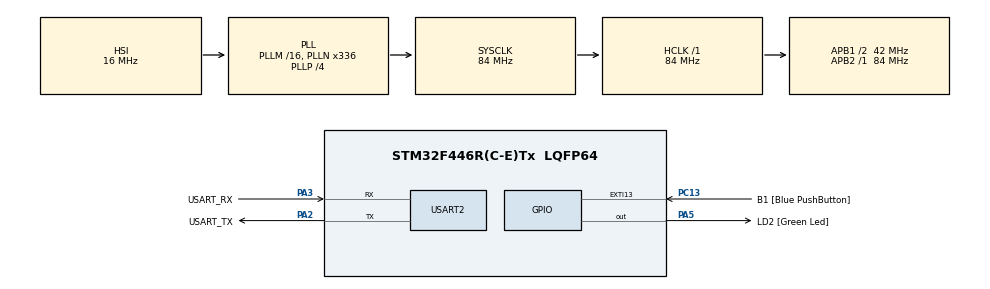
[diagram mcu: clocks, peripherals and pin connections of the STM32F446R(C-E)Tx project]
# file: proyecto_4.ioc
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Mcu.Family=STM32F4
Mcu.Name=STM32F446R(C-E)Tx
Mcu.Package=LQFP64
NVIC.PriorityGroup=NVIC_PRIORITYGROUP_0
PA13.GPIO_Label=TMS
PA13.Mode=Serial_Wire
PA13.Signal=SYS_JTMS-SWDIO
PA14.GPIO_Label=TCK
PA14.Mode=Serial_Wire
PA14.Signal=SYS_JTCK-SWCLK
PA2.GPIO_Label=USART_TX
PA2.Mode=Asynchronous
PA2.Signal=USART2_TX
PA3.GPIO_Label=USART_RX
PA3.Mode=Asynchronous
PA3.Signal=USART2_RX
PA5.GPIO_Label=LD2 [Green Led]
PA5.Signal=GPIO_Output
PB3.GPIO_Label=SWO
PB3.Signal=SYS_JTDO-SWO
PC13.GPIO_Label=B1 [Blue PushButton]
PC13.GPIO_ModeDefaultEXTI=GPIO_MODE_IT_FALLING
PC13.Signal=GPXTI13
PC14-OSC32_IN.Mode=LSE-External-Oscillator
PC14-OSC32_IN.Signal=RCC_OSC32_IN
PC15-OSC32_OUT.Mode=LSE-External-Oscillator
PC15-OSC32_OUT.Signal=RCC_OSC32_OUT
PH0-OSC_IN.Mode=HSE-External-Oscillator
PH0-OSC_IN.Signal=RCC_OSC_IN
PH1-OSC_OUT.Mode=HSE-External-Oscillator
PH1-OSC_OUT.Signal=RCC_OSC_OUT
ProjectManager.HeapSize=0x200
ProjectManager.StackSize=0x400
ProjectManager.TargetToolchain=STM32CubeIDE
RCC.48MHZClocksFreq_Value=84000000
RCC.AHBFreq_Value=84000000
RCC.APB1CLKDivider=RCC_HCLK_DIV2
RCC.APB1Freq_Value=42000000
RCC.APB1TimFreq_Value=84000000
RCC.APB2Freq_Value=84000000
RCC.APB2TimFreq_Value=84000000
RCC.CortexFreq_Value=84000000
RCC.FLatency-AdvancedSettings=FLASH_LATENCY_2
RCC.HCLKFreq_Value=84000000
RCC.HSE_VALUE=8000000
RCC.HSI_VALUE=16000000
RCC.PLLN=336
RCC.PLLP=RCC_PLLP_DIV4
RCC.SYSCLKFreq_VALUE=84000000
RCC.SYSCLKSource=RCC_SYSCLKSOURCE_PLLCLK
RCC.USBFreq_Value=168000000
RCC.VCOOutputFreq_Value=336000000
USART2.VirtualMode=VM_ASYNC
board=NUCLEO-F446RE

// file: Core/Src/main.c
/* USER CODE BEGIN Header */
/**
  ******************************************************************************
  * @file           : main.c
  * @brief          : Main program body
  ******************************************************************************
  * @attention
  *
  * Copyright (c) 2025 STMicroelectronics.
  * All rights reserved.
  *
  * This software is licensed under terms that can be found in the LICENSE file
  * in the root directory of this software component.
  * If no LICENSE file comes with this software, it is provided AS-IS.
  *
  ******************************************************************************
  */
/* USER CODE END Header */
#include "main.h"

/* USER CODE BEGIN Includes */

#include <stdbool.h>
#include "../../Drivers/API/Inc/API_debounce.h"
#include "../../Drivers/API/Src/API_delay.h"

/* USER CODE END Includes */

UART_HandleTypeDef huart2;

void SystemClock_Config(void);
static void MX_GPIO_Init(void);
static void MX_USART2_UART_Init(void);

int main(void)
{

  /* MCU Configuration--------------------------------------------------------*/

  /* Reset of all peripherals, Initializes the Flash interface and the Systick. */
  HAL_Init();

  /* Configure the system clock */
  SystemClock_Config();

  /* Initialize all configured peripherals */
  MX_GPIO_Init();
  MX_USART2_UART_Init();
  /* USER CODE BEGIN 2 */

  //Se inicializa la maquina de estados
  debounceFSM_init();

  //Definicion de tiempos del led encendido
  const uint32_t TIEMPOS[] = {100, 500};
  uint8_t cantTiempos = sizeof(TIEMPOS) / sizeof(TIEMPOS[0]);
  uint8_t indice = 0;

  //Declaracion de delay que controla el led.
  delay_t delay_led;
  bool ledState = false;

  //Inicializacion del delay que controla al led.
  delayInit(&delay_led, TIEMPOS[indice]);

  /* USER CODE END 2 */

  /* Infinite loop */
  /* USER CODE BEGIN WHILE */
  while (1)
  {
	//Se actualiza el estado de la maquina de estados
	debounceFSM_update();

	if (delayRead(&delay_led)){

		ledState = !ledState;
		HAL_GPIO_WritePin(LD2_GPIO_Port, LD2_Pin, ledState ? GPIO_PIN_SET : GPIO_PIN_RESET);

		//Si se presiono el pulsador cambia el tiempo de trabajo del parpadeo.
		if(readKey()){

			indice ++;
			if (indice >= cantTiempos) {
				indice = 0;
			}
			delayWrite(&delay_led, TIEMPOS[indice]);
		}

	}

    /* USER CODE END WHILE */

  }
}

void SystemClock_Config(void)
{
  RCC_OscInitTypeDef RCC_OscInitStruct = {0};
  RCC_ClkInitTypeDef RCC_ClkInitStruct = {0};

  /** Configure the main internal regulator output voltage
  */
  __HAL_RCC_PWR_CLK_ENABLE();
  __HAL_PWR_VOLTAGESCALING_CONFIG(PWR_REGULATOR_VOLTAGE_SCALE3);

  /** Initializes the RCC Oscillators according to the specified parameters
  * in the RCC_OscInitTypeDef structure.
  */
  RCC_OscInitStruct.OscillatorType = RCC_OSCILLATORTYPE_HSI;
  RCC_OscInitStruct.HSIState = RCC_HSI_ON;
  RCC_OscInitStruct.HSICalibrationValue = RCC_HSICALIBRATION_DEFAULT;
  RCC_OscInitStruct.PLL.PLLState = RCC_PLL_ON;
  RCC_OscInitStruct.PLL.PLLSource = RCC_PLLSOURCE_HSI;
  RCC_OscInitStruct.PLL.PLLM = 16;
  RCC_OscInitStruct.PLL.PLLN = 336;
  RCC_OscInitStruct.PLL.PLLP = RCC_PLLP_DIV4;
  RCC_OscInitStruct.PLL.PLLQ = 2;
  RCC_OscInitStruct.PLL.PLLR = 2;
  if (HAL_RCC_OscConfig(&RCC_OscInitStruct) != HAL_OK)
  {
    Error_Handler();
  }

  /** Initializes the CPU, AHB and APB buses clocks
  */
  RCC_ClkInitStruct.ClockType = RCC_CLOCKTYPE_HCLK|RCC_CLOCKTYPE_SYSCLK
                              |RCC_CLOCKTYPE_PCLK1|RCC_CLOCKTYPE_PCLK2;
  RCC_ClkInitStruct.SYSCLKSource = RCC_SYSCLKSOURCE_PLLCLK;
  RCC_ClkInitStruct.AHBCLKDivider = RCC_SYSCLK_DIV1;
  RCC_ClkInitStruct.APB1CLKDivider = RCC_HCLK_DIV2;
  RCC_ClkInitStruct.APB2CLKDivider = RCC_HCLK_DIV1;

  if (HAL_RCC_ClockConfig(&RCC_ClkInitStruct, FLASH_LATENCY_2) != HAL_OK)
  {
    Error_Handler();
  }
}

static void MX_USART2_UART_Init(void)
{

  huart2.Instance = USART2;
  huart2.Init.BaudRate = 115200;
  huart2.Init.WordLength = UART_WORDLENGTH_8B;
  huart2.Init.StopBits = UART_STOPBITS_1;
  huart2.Init.Parity = UART_PARITY_NONE;
  huart2.Init.Mode = UART_MODE_TX_RX;
  huart2.Init.HwFlowCtl = UART_HWCONTROL_NONE;
  huart2.Init.OverSampling = UART_OVERSAMPLING_16;
  if (HAL_UART_Init(&huart2) != HAL_OK)
  {
    Error_Handler();
  }

}

static void MX_GPIO_Init(void)
{
  GPIO_InitTypeDef GPIO_InitStruct = {0};

  /* GPIO Ports Clock Enable */
  __HAL_RCC_GPIOC_CLK_ENABLE();
  __HAL_RCC_GPIOH_CLK_ENABLE();
  __HAL_RCC_GPIOA_CLK_ENABLE();
  __HAL_RCC_GPIOB_CLK_ENABLE();

  /*Configure GPIO pin Output Level */
  HAL_GPIO_WritePin(LD2_GPIO_Port, LD2_Pin, GPIO_PIN_RESET);

  /*Configure GPIO pin : B1_Pin */
  GPIO_InitStruct.Pin = B1_Pin;
  GPIO_InitStruct.Mode = GPIO_MODE_IT_FALLING;
  GPIO_InitStruct.Pull = GPIO_NOPULL;
  HAL_GPIO_Init(B1_GPIO_Port, &GPIO_InitStruct);

  /*Configure GPIO pin : LD2_Pin */
  GPIO_InitStruct.Pin = LD2_Pin;
  GPIO_InitStruct.Mode = GPIO_MODE_OUTPUT_PP;
  GPIO_InitStruct.Pull = GPIO_NOPULL;
  GPIO_InitStruct.Speed = GPIO_SPEED_FREQ_LOW;
  HAL_GPIO_Init(LD2_GPIO_Port, &GPIO_InitStruct);

}

void Error_Handler(void)
{
  __disable_irq();
  while (1)
  {
  }
}
